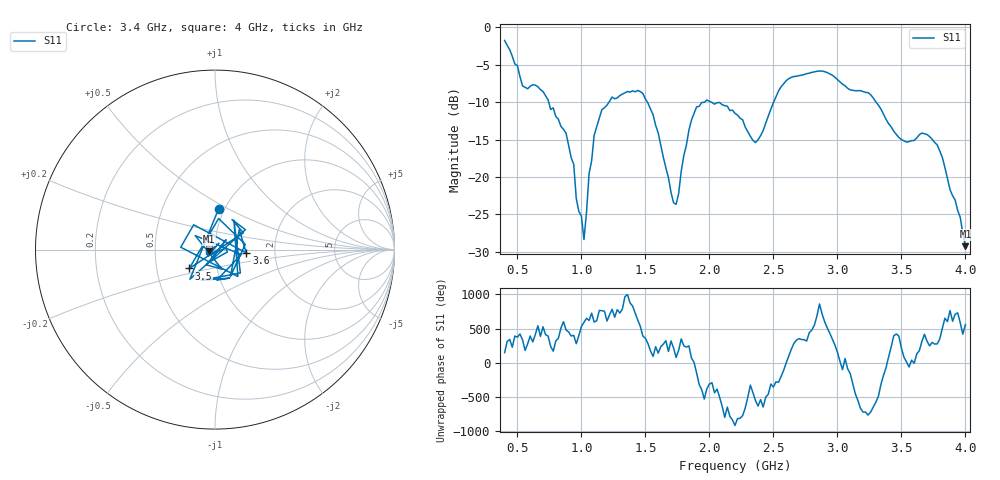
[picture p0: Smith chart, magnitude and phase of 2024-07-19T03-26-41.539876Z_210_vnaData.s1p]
!Created with skrf (http://scikit-rf.org).
# Hz S RI R 50.0
!freq ReS11 ImS11
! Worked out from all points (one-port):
!   181 points, 400 MHz to 4 GHz, reference 50 ohm
!   lowest |S11| = -29.2 dB at 4 GHz (marker M1), VSWR 1.07, Z = 46.8 - j0.922 ohm
!   |S11| at or under -10 dB: 744.5 MHz to 1.216 GHz (471.4 MHz wide, 48.1 % of centre); 2.015 GHz to 2.502 GHz (487.4 MHz wide, 21.6 % of centre); 3.302 GHz to end of sweep (the widest 3 of 4)
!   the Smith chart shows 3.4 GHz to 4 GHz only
!   S11 on the Smith chart (normalised r, x): 3.4 GHz: 0.94, +0.45; 3.5 GHz: 0.73, -0.16; 3.6 GHz: 1.42, -0.06; 4 GHz: 0.94, -0.02
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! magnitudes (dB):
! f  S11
! 400 MHz  -1.8
! 540 MHz  -7.8
! 700 MHz  -8.6
! 860 MHz  -13.6
! 940 MHz  -18.3
! 960 MHz  -22.9
! 1.02 GHz  -28.4
! 1.06 GHz  -19.5
! 1.1 GHz  -14.4
! 1.16 GHz  -11.0
! 1.3 GHz  -9.1
! 1.48 GHz  -8.8
! 1.6 GHz  -14.1
! 1.72 GHz  -23.4
! 1.76 GHz  -22.2
! 1.84 GHz  -13.7
! 1.9 GHz  -10.6
! 2.2 GHz  -11.5
! 2.36 GHz  -15.4
! 2.66 GHz  -6.6
! 3.1 GHz  -8.4
! 3.26 GHz  -9.0
! 3.4 GHz  -12.9
! 3.5 GHz  -15.0
! 3.56 GHz  -15.3
! 3.6 GHz  -15.1
! 3.78 GHz  -15.7
! 4 GHz  -29.2
